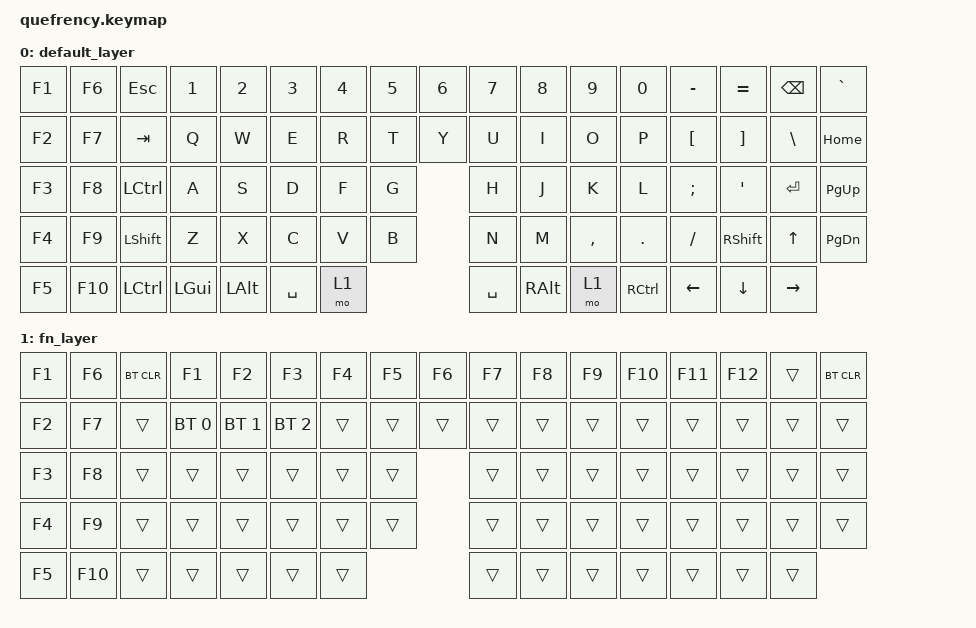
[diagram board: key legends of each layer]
/*
 * Copyright (c) 2020 The ZMK Contributors
 *
 * SPDX-License-Identifier: MIT
 */

#include <behaviors.dtsi>
#include <dt-bindings/zmk/bt.h>
#include <dt-bindings/zmk/keys.h>

/ {
    keymap {
        compatible = "zmk,keymap";

// ----------------------------------------------      -----------------------------------------------------
// | ESC  |  1   |  2  |  3   |  4  |  5  |  6  |      |  7  |  8  |  9  |  0  |  -  |  =  |  BKSPC |  `   |
// | TAB   |  Q   |  W  |  E   |  R  |  T  |        |  Y  |  U  |  I  |  O  |  P  |  [  |  ]  |  \  | DEL  |
// | LCTRL  |  A   |  S  |  D   |  F  |  G  |        |  H  |  J  |  K  |  L  |  ;  |  '  |   ENTER  | PGUP |
// | SHIFT   |  Z   |  X  |  C  |  V   |  B  |        |  N  |  M  |  ,  |  .  |  /  |  RSHFT  |  UP | PGDN |
// | LCTRL   | LGUI | LALT |   SPACE   | FN  |        |    SPACE    | RALT | FN | RCTRL | LFT | DWN | RGHT |
// -------------------------------------------        ------------------------------------------------------

        default_layer {
            bindings = <
    &kp F1 &kp F6 &kp ESC   &kp N1   &kp N2   &kp N3    &kp N4 &kp N5 &kp N6 /**/ &kp N7    &kp N8   &kp N9    &kp N0    &kp MINUS &kp EQUAL &kp BSPC &kp GRAVE
    &kp F2 &kp F7 &kp TAB   &kp Q    &kp W    &kp E     &kp R  &kp T         /**/ &kp Y     &kp U    &kp I     &kp O     &kp P     &kp LBKT  &kp RBKT &kp BSLH &kp HOME
    &kp F3 &kp F8 &kp LCTRL &kp A    &kp S    &kp D     &kp F  &kp G         /**/ &kp H     &kp J    &kp K     &kp L     &kp SEMI  &kp SQT   &kp RET  &kp PG_UP
    &kp F4 &kp F9 &kp LSHFT &kp Z    &kp X    &kp C     &kp V  &kp B         /**/ &kp N     &kp M    &kp COMMA &kp DOT   &kp FSLH  &kp RSHFT &kp UP   &kp PG_DN
    &kp F5 &kp F10 &kp LCTRL &kp LGUI &kp LALT &kp SPACE &mo 1                /**/ &kp SPACE &kp RALT &mo 1     &kp RCTRL &kp LEFT  &kp DOWN  &kp RIGHT
            >;
        };

// ----------------------------------------------     -----------------------------------------------------
// |BT_CLR|  F1  |  F2 |  F3  |  F4 |  F5 |  F6 |     |  F7 |  F8 |  F9 | F10 | F11 | F12 |        |BT_CLR|
// |       | BT-0 | BT-1| BT-2 |     |     |       |     |     |     |     |     |     |     |     |      |
// |        |      |     |      |     |     |       |     |     |     |     |     |     |          |      |
// |         |      |     |     |      |     |       |     |     |     |     |     |         |     |      |
// |         |      |      |           |     |       |             |      |    |       |     |     |      |
// -------------------------------------------       ------------------------------------------------------

        fn_layer {
            bindings = <
    &kp F1 &kp F6 &bt BT_CLR &kp F1       &kp F2       &kp F3       &kp F4 &kp F5 &kp F6 /**/ &kp F7 &kp F8 &kp F9 &kp F10 &kp F11 &kp F12 &trans &bt BT_CLR
    &kp F2 &kp F7 &trans     &bt BT_SEL 0 &bt BT_SEL 1 &bt BT_SEL 2 &trans &trans        /**/ &trans &trans &trans &trans  &trans  &trans  &trans &trans &trans
    &kp F3 &kp F8 &trans     &trans       &trans       &trans       &trans &trans        /**/ &trans &trans &trans &trans  &trans  &trans  &trans &trans
    &kp F4 &kp F9 &trans     &trans       &trans       &trans       &trans &trans        /**/ &trans &trans &trans &trans  &trans  &trans  &trans &trans
    &kp F5 &kp F10 &trans     &trans       &trans       &trans       &trans               /**/ &trans &trans &trans &trans  &trans  &trans  &trans
            >;
        };
    };
};
